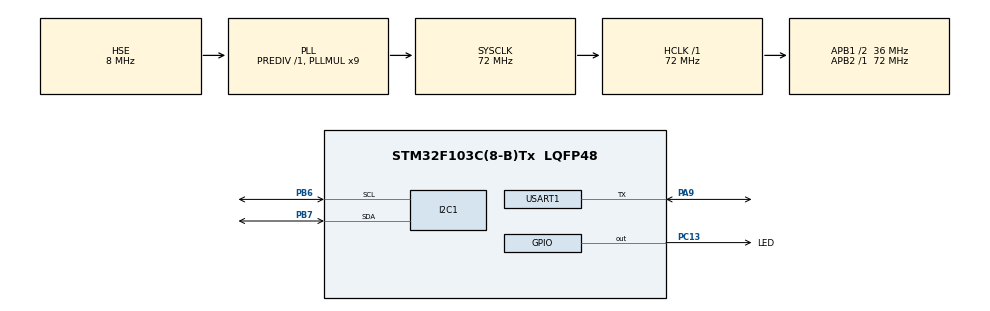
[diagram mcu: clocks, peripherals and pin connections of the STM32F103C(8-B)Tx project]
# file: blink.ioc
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Mcu.Family=STM32F1
Mcu.Name=STM32F103C(8-B)Tx
Mcu.Package=LQFP48
NVIC.PriorityGroup=NVIC_PRIORITYGROUP_4
NVIC.TIM2_IRQn=true\:0\:0\:false\:false\:true\:true\:true\:true
PA13.Mode=Serial_Wire
PA13.Signal=SYS_JTMS-SWDIO
PA14.Mode=Serial_Wire
PA14.Signal=SYS_JTCK-SWCLK
PA9.Mode=Half_duplex(single_wire_mode)
PA9.Signal=USART1_TX
PB6.Mode=I2C
PB6.Signal=I2C1_SCL
PB7.Mode=I2C
PB7.Signal=I2C1_SDA
PC13-TAMPER-RTC.GPIO_Label=LED
PC13-TAMPER-RTC.Signal=GPIO_Output
PD0-OSC_IN.Mode=HSE-External-Oscillator
PD0-OSC_IN.Signal=RCC_OSC_IN
PD1-OSC_OUT.Mode=HSE-External-Oscillator
PD1-OSC_OUT.Signal=RCC_OSC_OUT
ProjectManager.HeapSize=0x200
ProjectManager.StackSize=0x400
ProjectManager.TargetToolchain=STM32CubeIDE
RCC.AHBFreq_Value=72000000
RCC.APB1CLKDivider=RCC_HCLK_DIV2
RCC.APB1Freq_Value=36000000
RCC.APB1TimFreq_Value=72000000
RCC.APB2Freq_Value=72000000
RCC.APB2TimFreq_Value=72000000
RCC.HCLKFreq_Value=72000000
RCC.PLLMUL=RCC_PLL_MUL9
RCC.PLLSourceVirtual=RCC_PLLSOURCE_HSE
RCC.SYSCLKFreq_VALUE=72000000
RCC.SYSCLKSource=RCC_SYSCLKSOURCE_PLLCLK
RCC.USBFreq_Value=72000000
TIM2.Period=49999
TIM2.Prescaler=1439
USART1.BaudRate=57600
USART1.VirtualMode=VM_ASYNC
VP_TIM2_VS_ClockSourceINT.Mode=Internal
board=custom

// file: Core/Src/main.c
/* USER CODE BEGIN Header */
/**
  ******************************************************************************
  * @file           : main.c
  * @brief          : Main program body
  ******************************************************************************
  * @attention
  *
  * Copyright (c) 2022 STMicroelectronics.
  * All rights reserved.
  *
  * This software is licensed under terms that can be found in the LICENSE file
  * in the root directory of this software component.
  * If no LICENSE file comes with this software, it is provided AS-IS.
  *
  ******************************************************************************
  */
/* USER CODE END Header */
#include "main.h"

 I2C_HandleTypeDef hi2c1;

TIM_HandleTypeDef htim2;

UART_HandleTypeDef huart1;

/* USER CODE BEGIN PV */
DS18B20 sensor;
DS18B20_Status state;
/* USER CODE END PV */

void SystemClock_Config(void);
static void MX_GPIO_Init(void);
static void MX_I2C1_Init(void);
static void MX_USART1_UART_Init(void);
static void MX_TIM2_Init(void);

/* USER CODE BEGIN 0 */
void HAL_TIM_PeriodElapsedCallback(TIM_HandleTypeDef *htim)
{
		HAL_ResumeTick();
        if(htim->Instance == TIM2) //check if the interrupt comes from TIM2
        {
        	ssd1306_SetCursor(0, 20);

        	state = DS18B20_InitializationCommand(&sensor);
        	state = DS18B20_ReadRom(&sensor);
        	state = DS18B20_ConvertT(&sensor, DS18B20_DATA);

        	if (state == DS18B20_ERROR) {
        		ssd1306_WriteString("ConvertT error", Font_7x10, White);
        		ssd1306_UpdateScreen();
        		return;
        	}

        	DS18B20_InitializationCommand(&sensor);
        	state = DS18B20_ReadRom(&sensor);
        	ssd1306_SetCursor(0, 10);
        	if (state == DS18B20_OK) {
        		ssd1306_WriteString("ReadRom() ok", Font_7x10, White);
        	}
        	else {
        		ssd1306_WriteString("ReadRom() failed", Font_7x10, White);
        	}

        	state = DS18B20_ReadScratchpad(&sensor);
        	if (state == DS18B20_ERROR) {
        		ssd1306_WriteString("ReadS error", Font_7x10, White);
        		ssd1306_UpdateScreen();
        		return;
        	}

        	else {
        		char config[3];
        		sprintf(config, "%Xh", sensor.configRegister);
        		ssd1306_SetCursor(106, 0);
        		ssd1306_WriteString(config, Font_7x10, White);
        		ssd1306_UpdateScreen();

        		char buf[15];
        		sprintf(buf, "%2.1f          ", sensor.temperature);
        		ssd1306_SetCursor(0, 20);
        		ssd1306_WriteString(buf, Font_7x10, White);
        		ssd1306_UpdateScreen();
        		return;
        	}
        }
        //HAL_SuspendTick();
        //HAL_PWR_EnterSLEEPMode(PWR_MAINREGULATOR_ON, PWR_SLEEPENTRY_WFI);
}
/* USER CODE END 0 */

int main(void)
{

  /* MCU Configuration--------------------------------------------------------*/

  /* Reset of all peripherals, Initializes the Flash interface and the Systick. */
  HAL_Init();

  /* Configure the system clock */
  SystemClock_Config();

  /* Initialize all configured peripherals */
  MX_GPIO_Init();
  MX_I2C1_Init();
  MX_USART1_UART_Init();
  MX_TIM2_Init();
  /* USER CODE BEGIN 2 */
  DS18B20_Init(&sensor, &huart1);

  ssd1306_Init();
  state = DS18B20_InitializationCommand(&sensor);

  if (state == DS18B20_OK) {
	  ssd1306_WriteString("init ok", Font_7x10, White);
  }
  else {
	  ssd1306_WriteString("init failed", Font_7x10, White);
  }

  state = DS18B20_ReadRom(&sensor);

  ssd1306_SetCursor(0, 10);
  if (state == DS18B20_OK) {
  	  ssd1306_WriteString("ReadRom() ok", Font_7x10, White);
  	  char serial[12];
  	  sprintf(serial, "%X%X%X%X%X%Xh", (uint8_t)*sensor.serialNumber,
  			  	  	  	  	  (uint8_t)*(sensor.serialNumber+1),
  							  (uint8_t)*(sensor.serialNumber+2),
  							  (uint8_t)*(sensor.serialNumber+3),
  							  (uint8_t)*(sensor.serialNumber+4),
  							  (uint8_t)*(sensor.serialNumber+5));
  	  ssd1306_SetCursor(0, 0);
  	  ssd1306_WriteString(serial, Font_7x10, White);
  }
  else {
  	  ssd1306_WriteString("ReadRom() failed", Font_7x10, White);
  }

  ssd1306_UpdateScreen();
  HAL_TIM_Base_Start_IT(&htim2);

  /* USER CODE END 2 */

  /* Infinite loop */
  while (1)
  {

    /* USER CODE BEGIN 3 */
	  HAL_SuspendTick();
	  HAL_PWR_EnterSLEEPMode(PWR_MAINREGULATOR_ON, PWR_SLEEPENTRY_WFI);
  }
  /* USER CODE END 3 */
}

void SystemClock_Config(void)
{
  RCC_OscInitTypeDef RCC_OscInitStruct = {0};
  RCC_ClkInitTypeDef RCC_ClkInitStruct = {0};

  /** Initializes the RCC Oscillators according to the specified parameters
  * in the RCC_OscInitTypeDef structure.
  */
  RCC_OscInitStruct.OscillatorType = RCC_OSCILLATORTYPE_HSE;
  RCC_OscInitStruct.HSEState = RCC_HSE_ON;
  RCC_OscInitStruct.HSEPredivValue = RCC_HSE_PREDIV_DIV1;
  RCC_OscInitStruct.HSIState = RCC_HSI_ON;
  RCC_OscInitStruct.PLL.PLLState = RCC_PLL_ON;
  RCC_OscInitStruct.PLL.PLLSource = RCC_PLLSOURCE_HSE;
  RCC_OscInitStruct.PLL.PLLMUL = RCC_PLL_MUL9;
  if (HAL_RCC_OscConfig(&RCC_OscInitStruct) != HAL_OK)
  {
    Error_Handler();
  }

  /** Initializes the CPU, AHB and APB buses clocks
  */
  RCC_ClkInitStruct.ClockType = RCC_CLOCKTYPE_HCLK|RCC_CLOCKTYPE_SYSCLK
                              |RCC_CLOCKTYPE_PCLK1|RCC_CLOCKTYPE_PCLK2;
  RCC_ClkInitStruct.SYSCLKSource = RCC_SYSCLKSOURCE_PLLCLK;
  RCC_ClkInitStruct.AHBCLKDivider = RCC_SYSCLK_DIV1;
  RCC_ClkInitStruct.APB1CLKDivider = RCC_HCLK_DIV2;
  RCC_ClkInitStruct.APB2CLKDivider = RCC_HCLK_DIV1;

  if (HAL_RCC_ClockConfig(&RCC_ClkInitStruct, FLASH_LATENCY_2) != HAL_OK)
  {
    Error_Handler();
  }
}

static void MX_I2C1_Init(void)
{

  hi2c1.Instance = I2C1;
  hi2c1.Init.ClockSpeed = 100000;
  hi2c1.Init.DutyCycle = I2C_DUTYCYCLE_2;
  hi2c1.Init.OwnAddress1 = 0;
  hi2c1.Init.AddressingMode = I2C_ADDRESSINGMODE_7BIT;
  hi2c1.Init.DualAddressMode = I2C_DUALADDRESS_DISABLE;
  hi2c1.Init.OwnAddress2 = 0;
  hi2c1.Init.GeneralCallMode = I2C_GENERALCALL_DISABLE;
  hi2c1.Init.NoStretchMode = I2C_NOSTRETCH_DISABLE;
  if (HAL_I2C_Init(&hi2c1) != HAL_OK)
  {
    Error_Handler();
  }

}

static void MX_TIM2_Init(void)
{

  TIM_ClockConfigTypeDef sClockSourceConfig = {0};
  TIM_MasterConfigTypeDef sMasterConfig = {0};

  htim2.Instance = TIM2;
  htim2.Init.Prescaler = 1439;
  htim2.Init.CounterMode = TIM_COUNTERMODE_UP;
  htim2.Init.Period = 49999;
  htim2.Init.ClockDivision = TIM_CLOCKDIVISION_DIV1;
  htim2.Init.AutoReloadPreload = TIM_AUTORELOAD_PRELOAD_DISABLE;
  if (HAL_TIM_Base_Init(&htim2) != HAL_OK)
  {
    Error_Handler();
  }
  sClockSourceConfig.ClockSource = TIM_CLOCKSOURCE_INTERNAL;
  if (HAL_TIM_ConfigClockSource(&htim2, &sClockSourceConfig) != HAL_OK)
  {
    Error_Handler();
  }
  sMasterConfig.MasterOutputTrigger = TIM_TRGO_RESET;
  sMasterConfig.MasterSlaveMode = TIM_MASTERSLAVEMODE_DISABLE;
  if (HAL_TIMEx_MasterConfigSynchronization(&htim2, &sMasterConfig) != HAL_OK)
  {
    Error_Handler();
  }

}

static void MX_USART1_UART_Init(void)
{

  huart1.Instance = USART1;
  huart1.Init.BaudRate = 57600;
  huart1.Init.WordLength = UART_WORDLENGTH_8B;
  huart1.Init.StopBits = UART_STOPBITS_1;
  huart1.Init.Parity = UART_PARITY_NONE;
  huart1.Init.Mode = UART_MODE_TX_RX;
  huart1.Init.HwFlowCtl = UART_HWCONTROL_NONE;
  huart1.Init.OverSampling = UART_OVERSAMPLING_16;
  if (HAL_HalfDuplex_Init(&huart1) != HAL_OK)
  {
    Error_Handler();
  }

}

static void MX_GPIO_Init(void)
{
  GPIO_InitTypeDef GPIO_InitStruct = {0};

  /* GPIO Ports Clock Enable */
  __HAL_RCC_GPIOC_CLK_ENABLE();
  __HAL_RCC_GPIOD_CLK_ENABLE();
  __HAL_RCC_GPIOA_CLK_ENABLE();
  __HAL_RCC_GPIOB_CLK_ENABLE();

  /*Configure GPIO pin Output Level */
  HAL_GPIO_WritePin(LED_GPIO_Port, LED_Pin, GPIO_PIN_RESET);

  /*Configure GPIO pin : LED_Pin */
  GPIO_InitStruct.Pin = LED_Pin;
  GPIO_InitStruct.Mode = GPIO_MODE_OUTPUT_PP;
  GPIO_InitStruct.Pull = GPIO_NOPULL;
  GPIO_InitStruct.Speed = GPIO_SPEED_FREQ_LOW;
  HAL_GPIO_Init(LED_GPIO_Port, &GPIO_InitStruct);

}

void Error_Handler(void)
{
  __disable_irq();
  while (1)
  {
  }
}
